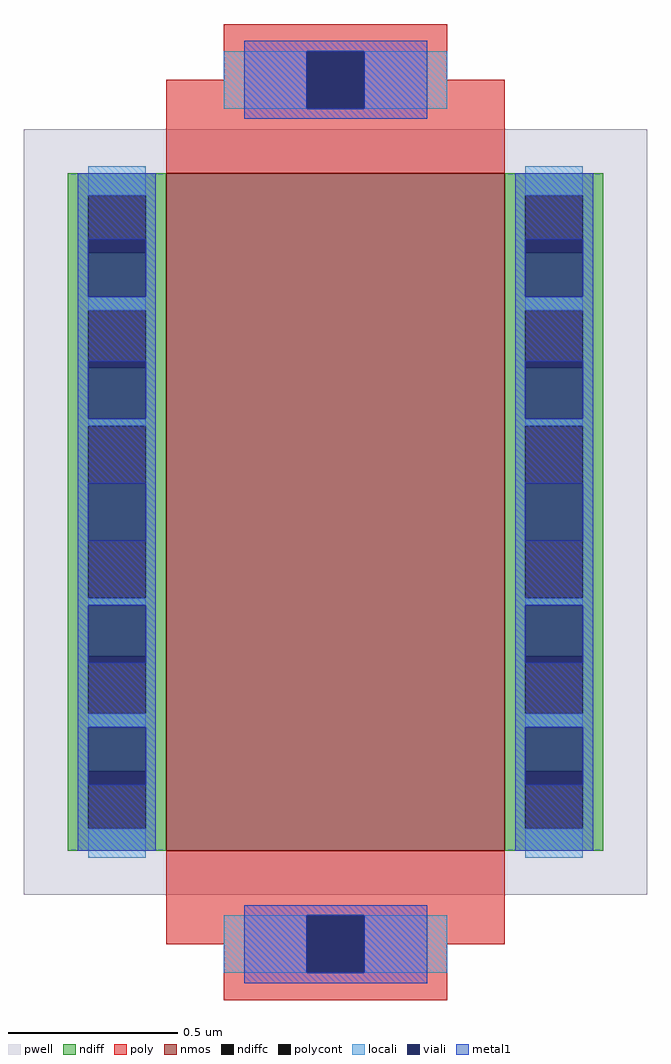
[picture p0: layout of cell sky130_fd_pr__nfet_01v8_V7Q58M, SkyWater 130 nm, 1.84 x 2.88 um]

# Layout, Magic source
magic
tech sky130A
magscale 1 2
<< pwell >>
rect -184 -226 184 226
<< nmos >>
rect -100 -200 100 200
<< ndiff >>
rect -158 187 -100 200
rect -158 153 -146 187
rect -112 153 -100 187
rect -158 119 -100 153
rect -158 85 -146 119
rect -112 85 -100 119
rect -158 51 -100 85
rect -158 17 -146 51
rect -112 17 -100 51
rect -158 -17 -100 17
rect -158 -51 -146 -17
rect -112 -51 -100 -17
rect -158 -85 -100 -51
rect -158 -119 -146 -85
rect -112 -119 -100 -85
rect -158 -153 -100 -119
rect -158 -187 -146 -153
rect -112 -187 -100 -153
rect -158 -200 -100 -187
rect 100 187 158 200
rect 100 153 112 187
rect 146 153 158 187
rect 100 119 158 153
rect 100 85 112 119
rect 146 85 158 119
rect 100 51 158 85
rect 100 17 112 51
rect 146 17 158 51
rect 100 -17 158 17
rect 100 -51 112 -17
rect 146 -51 158 -17
rect 100 -85 158 -51
rect 100 -119 112 -85
rect 146 -119 158 -85
rect 100 -153 158 -119
rect 100 -187 112 -153
rect 146 -187 158 -153
rect 100 -200 158 -187
<< ndiffc >>
rect -146 153 -112 187
rect -146 85 -112 119
rect -146 17 -112 51
rect -146 -51 -112 -17
rect -146 -119 -112 -85
rect -146 -187 -112 -153
rect 112 153 146 187
rect 112 85 146 119
rect 112 17 146 51
rect 112 -51 146 -17
rect 112 -119 146 -85
rect 112 -187 146 -153
<< poly >>
rect -66 272 66 288
rect -66 255 -17 272
rect -100 238 -17 255
rect 17 255 66 272
rect 17 238 100 255
rect -100 200 100 238
rect -100 -238 100 -200
rect -100 -255 -17 -238
rect -66 -272 -17 -255
rect 17 -255 100 -238
rect 17 -272 66 -255
rect -66 -288 66 -272
<< polycont >>
rect -17 238 17 272
rect -17 -272 17 -238
<< locali >>
rect -66 238 -17 272
rect 17 238 66 272
rect -146 187 -112 204
rect -146 119 -112 127
rect -146 51 -112 55
rect -146 -55 -112 -51
rect -146 -127 -112 -119
rect -146 -204 -112 -187
rect 112 187 146 204
rect 112 119 146 127
rect 112 51 146 55
rect 112 -55 146 -51
rect 112 -127 146 -119
rect 112 -204 146 -187
rect -66 -272 -17 -238
rect 17 -272 66 -238
<< viali >>
rect -17 238 17 272
rect -146 153 -112 161
rect -146 127 -112 153
rect -146 85 -112 89
rect -146 55 -112 85
rect -146 -17 -112 17
rect -146 -85 -112 -55
rect -146 -89 -112 -85
rect -146 -153 -112 -127
rect -146 -161 -112 -153
rect 112 153 146 161
rect 112 127 146 153
rect 112 85 146 89
rect 112 55 146 85
rect 112 -17 146 17
rect 112 -85 146 -55
rect 112 -89 146 -85
rect 112 -153 146 -127
rect 112 -161 146 -153
rect -17 -272 17 -238
<< metal1 >>
rect -54 272 54 278
rect -54 238 -17 272
rect 17 238 54 272
rect -54 232 54 238
rect -152 161 -106 200
rect -152 127 -146 161
rect -112 127 -106 161
rect -152 89 -106 127
rect -152 55 -146 89
rect -112 55 -106 89
rect -152 17 -106 55
rect -152 -17 -146 17
rect -112 -17 -106 17
rect -152 -55 -106 -17
rect -152 -89 -146 -55
rect -112 -89 -106 -55
rect -152 -127 -106 -89
rect -152 -161 -146 -127
rect -112 -161 -106 -127
rect -152 -200 -106 -161
rect 106 161 152 200
rect 106 127 112 161
rect 146 127 152 161
rect 106 89 152 127
rect 106 55 112 89
rect 146 55 152 89
rect 106 17 152 55
rect 106 -17 112 17
rect 146 -17 152 17
rect 106 -55 152 -17
rect 106 -89 112 -55
rect 146 -89 152 -55
rect 106 -127 152 -89
rect 106 -161 112 -127
rect 146 -161 152 -127
rect 106 -200 152 -161
rect -54 -238 54 -232
rect -54 -272 -17 -238
rect 17 -272 54 -238
rect -54 -278 54 -272
<< end >>
